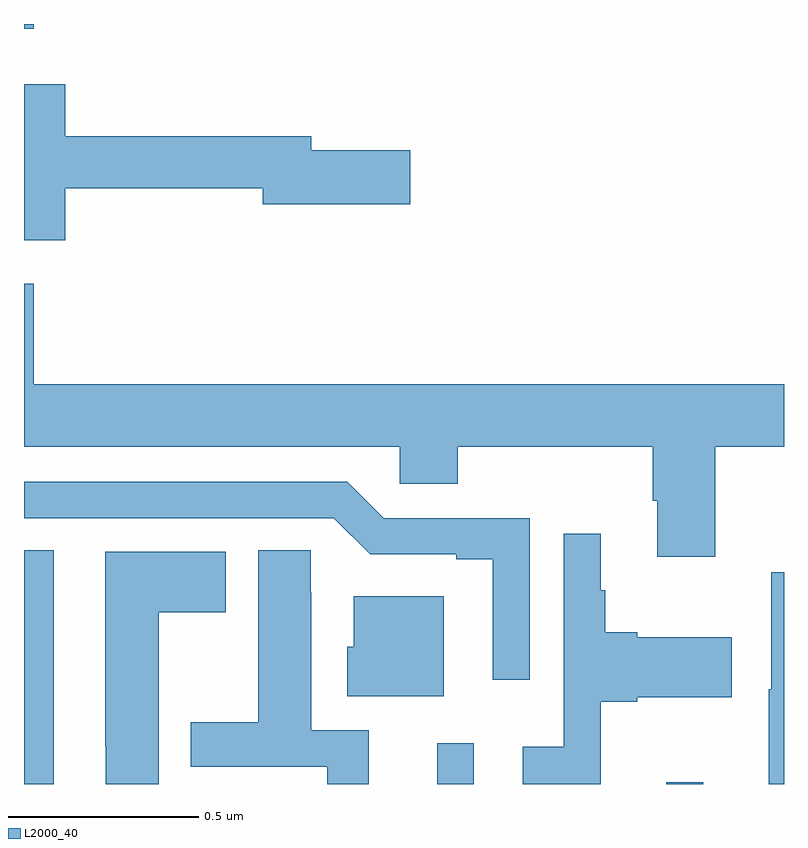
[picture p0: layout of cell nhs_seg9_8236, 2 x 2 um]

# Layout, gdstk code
import gdstk
lib = gdstk.Library(unit=1e-6, precision=1e-09)
def R(c, l, rs):  # rectangles x0, y0, x1, y1
    for r in rs: c.add(gdstk.rectangle(r[:2], r[2:], *l))
def P(c, l, *ps):  # polygons
    for p in ps: c.add(gdstk.Polygon(p, *l))
L2000_40 = (2000, 40)

nhs_seg9_8236 = lib.new_cell('nhs_seg9_8236')
R(nhs_seg9_8236, L2000_40, [(214,1227.5,214.078,1228.115), (215.087,1227.5,215.184,1227.607), (215.69,1227.5,215.788,1227.505), (214,1229.487,214.025,1229.5)])
P(nhs_seg9_8236, L2000_40, [(214.108,1229.068),(214.628,1229.068),(214.628,1229.026),(215.017,1229.026),(215.017,1229.168),(214.756,1229.168),(214.756,1229.204),(214.108,1229.204),(214.108,1229.341),(214,1229.341),(214,1228.931),(214.108,1228.931)],
  [(215.819,1228.388),(216,1228.388),(216,1228.552),(214.025,1228.552),(214.025,1228.816),(214,1228.816),(214,1228.388),(214.989,1228.388),(214.989,1228.29),(215.141,1228.29),(215.141,1228.388),(215.654,1228.388),(215.654,1228.246),(215.666,1228.246),(215.666,1228.098),(215.819,1228.098)],
  [(215.331,1228.2),(214.947,1228.2),(214.851,1228.296),(214,1228.296),(214,1228.2),(214.815,1228.2),(214.911,1228.104),(215.138,1228.104),(215.138,1228.092),(215.234,1228.092),(215.234,1227.774),(215.331,1227.774)],
  [(215.518,1227.716),(215.614,1227.716),(215.614,1227.728),(215.863,1227.728),(215.863,1227.886),(215.614,1227.886),(215.614,1227.899),(215.53,1227.899),(215.53,1228.01),(215.518,1228.01),(215.518,1228.159),(215.421,1228.159),(215.421,1227.598),(215.312,1227.598),(215.312,1227.5),(215.518,1227.5)],
  [(214.907,1227.642),(214.756,1227.642),(214.756,1228.004),(214.755,1228.004),(214.755,1228.115),(214.616,1228.115),(214.616,1227.663),(214.439,1227.663),(214.439,1227.546),(214.798,1227.546),(214.798,1227.5),(214.907,1227.5)],
  [(214.354,1227.952),(214.531,1227.952),(214.531,1228.111),(214.214,1228.111),(214.214,1227.601),(214.215,1227.601),(214.215,1227.5),(214.354,1227.5)],
  [(216,1228.057),(215.966,1228.057),(215.966,1227.75),(215.96,1227.75),(215.96,1227.5),(216,1227.5)],
  [(215.104,1227.994),(214.868,1227.994),(214.868,1227.861),(214.85,1227.861),(214.85,1227.731),(215.104,1227.731)])

lib.write_gds('nhs_seg9_8236.gds')
